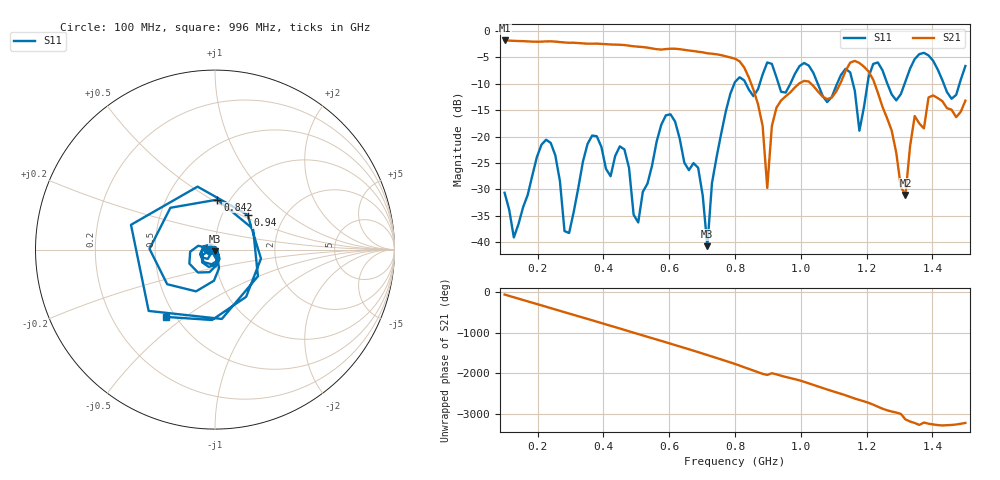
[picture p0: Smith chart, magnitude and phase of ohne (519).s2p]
! NanoVNA-App
! Date: 2025-09-25 14:24:50
! Start: 100MHz Stop: 1,5GHz Points: 101
! S-Parameter data: F S11 S21 S12 S22
# Hz S RI R 50
!  Frequency  S11_Real  S11_Imag  S21_Real  S21_Imag  S12_Real  S12_Imag  S22_Real  S22_Imag
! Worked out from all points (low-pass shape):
!   101 points, 100 MHz to 1.5 GHz, reference 50 ohm
!   highest |S21| = -1.79 dB at 100 MHz (marker M1); lowest = -31.0 dB at 1.318 GHz (marker M2)
!   |S21| within 3 dB of the highest: start of sweep to 771.8 MHz
!   lowest |S11| = -40.8 dB at 716 MHz (marker M3), VSWR 1.02, Z = 49.9 - j0.904 ohm
!   |S11| at or under -10 dB: start of sweep to 797.8 MHz; 833.2 MHz to 875.1 MHz (41.85 MHz wide, 4.9 % of centre); 1.052 GHz to 1.11 GHz (58.52 MHz wide, 5.41 % of centre) (the widest 3 of 7)
!   S12 and S22 are empty: the file has one direction only
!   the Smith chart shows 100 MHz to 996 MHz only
!   S11 on the Smith chart (normalised r, x): 100 MHz: 0.94, -0.01; 842 MHz: 0.88, +0.53; 940 MHz: 1.31, +0.55; 996 MHz: 0.44, -0.42
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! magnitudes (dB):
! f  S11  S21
! 100 MHz  -30.6  -1.8
! 128 MHz  -39.1  -1.9
! 226 MHz  -20.6  -2.0
! 296 MHz  -38.3  -2.2
! 338 MHz  -24.7  -2.3
! 464 MHz  -22.4  -2.7
! 506 MHz  -36.3  -3.0
! 576 MHz  -17.8  -3.5
! 688 MHz  -25.9  -3.9
! 716 MHz  -40.8  -4.2
! 800 MHz  -9.7  -5.2
! 842 MHz  -11.1  -8.8
! 898 MHz  -6.0  -29.7
! 940 MHz  -11.5  -13.2
! 996 MHz  -6.6  -9.9
! 1.038 GHz  -7.9  -10.4
! 1.178 GHz  -18.9  -6.1
! 1.22 GHz  -6.2  -9.2
! 1.276 GHz  -12.0  -18.8
! 1.318 GHz  -9.5  -31.0
! 1.346 GHz  -5.3  -16.1
! 1.5 GHz  -6.6  -13.2
